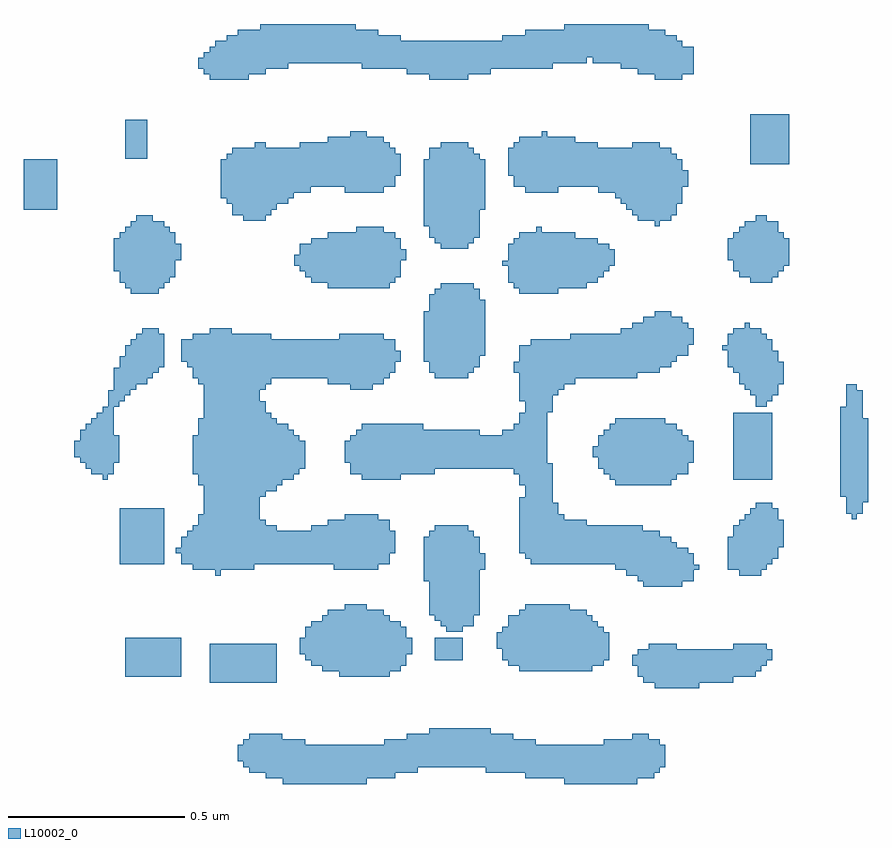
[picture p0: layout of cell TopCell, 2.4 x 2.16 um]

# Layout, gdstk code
import gdstk
lib = gdstk.Library(unit=1e-6, precision=1e-09)
def R(c, l, rs):  # rectangles x0, y0, x1, y1
    for r in rs: c.add(gdstk.rectangle(r[:2], r[2:], *l))
L10002_0 = (10002, 0)

topcell = lib.new_cell('TopCell')
R(topcell, L10002_0, [(1.344,0.752,1.583,0.768), (2.144,0.752,2.351,0.768), (1.296,0.768,1.663,0.784), (2.032,0.768,2.399,0.784), (1.248,0.784,1.727,0.8), (1.92,0.784,2.415,0.8), (1.232,0.8,2.431,0.816), (1.216,0.816,2.431,0.863), (1.232,0.863,1.407,0.879), (1.632,0.863,2.063,0.879), (2.256,0.863,2.415,0.879), (1.248,0.879,1.343,0.895), (1.696,0.879,1.999,0.895), (2.336,0.879,2.383,0.895), (1.76,0.895,1.935,0.911), (2.4,1.024,2.527,1.04), (1.136,1.04,1.327,1.151), (2.368,1.04,2.623,1.056), (0.896,1.056,1.055,1.167), (1.504,1.056,1.647,1.072), (2.352,1.056,2.687,1.088), (1.456,1.072,1.679,1.088), (2.016,1.072,2.223,1.088), (2.687,1.072,2.703,1.088), (1.424,1.088,1.695,1.104), (1.984,1.088,2.255,1.104), (2.336,1.088,2.719,1.119), (1.408,1.104,1.695,1.12), (1.776,1.104,1.855,1.167), (1.968,1.104,2.271,1.136), (2.719,1.104,2.735,1.119), (2.352,1.119,2.735,1.135), (1.392,1.12,1.711,1.167), (2.384,1.135,2.463,1.151), (2.624,1.135,2.719,1.151), (1.952,1.136,2.271,1.183), (1.408,1.167,1.695,1.199), (1.968,1.183,2.255,1.199), (1.808,1.184,1.855,1.2), (1.424,1.199,1.679,1.215), (1.984,1.199,2.239,1.215), (1.792,1.2,1.887,1.216), (1.456,1.215,1.647,1.231), (1.984,1.215,2.223,1.231), (1.776,1.216,1.887,1.232), (1.472,1.231,1.631,1.247), (2.016,1.231,2.207,1.247), (1.76,1.232,1.903,1.328), (1.52,1.247,1.583,1.263), (2.032,1.247,2.159,1.263), (2.368,1.312,2.479,1.328), (1.744,1.328,1.903,1.455), (2.352,1.328,2.511,1.344), (1.152,1.344,1.167,1.36), (2.32,1.344,2.511,1.36), (2.64,1.344,2.703,1.36), (1.088,1.36,1.263,1.376), (1.488,1.36,1.615,1.376), (1.903,1.36,1.919,1.407), (2.288,1.36,2.527,1.375), (2.608,1.36,2.719,1.455), (2.288,1.375,2.511,1.376), (0.88,1.376,1.007,1.535), (1.056,1.376,1.647,1.408), (2.048,1.376,2.511,1.392), (2.719,1.376,2.735,1.455), (2.032,1.392,2.511,1.407), (2.735,1.392,2.751,1.455), (2.032,1.407,2.495,1.408), (1.04,1.408,1.663,1.423), (2.016,1.408,2.495,1.423), (1.056,1.423,1.663,1.455), (2.016,1.423,2.463,1.439), (2.751,1.424,2.767,1.455), (2.016,1.439,2.447,1.455), (1.072,1.455,1.663,1.471), (1.76,1.455,1.887,1.471), (2.016,1.455,2.415,1.471), (2.624,1.455,2.767,1.487), (1.088,1.471,1.327,1.487), (1.424,1.471,1.647,1.487), (1.776,1.471,1.871,1.487), (2.016,1.471,2.367,1.487), (1.104,1.487,1.295,1.503), (1.472,1.487,1.647,1.503), (2.016,1.487,2.207,1.503), (2.64,1.487,2.767,1.503), (1.104,1.503,1.279,1.519), (1.52,1.503,1.615,1.519), (2.016,1.503,2.143,1.519), (2.656,1.503,2.751,1.519), (2.96,1.504,2.975,1.52), (1.12,1.519,1.279,1.6), (2.016,1.519,2.127,1.551), (2.672,1.519,2.751,1.535), (2.944,1.52,2.991,1.568), (2.688,1.535,2.735,1.551), (2.016,1.551,2.111,1.567), (2.991,1.552,3.007,1.568), (2.032,1.567,2.111,1.6), (1.279,1.568,1.295,1.6), (2.928,1.568,3.007,1.791), (1.295,1.584,1.327,1.6), (1.104,1.6,1.343,1.632), (2.016,1.6,2.111,1.632), (2.288,1.6,2.447,1.616), (0.832,1.616,0.847,1.632), (1.343,1.616,1.375,1.632), (1.568,1.616,1.679,1.632), (2.272,1.616,2.463,1.632), (2.624,1.616,2.735,1.807), (0.8,1.632,0.863,1.648), (1.088,1.632,1.391,1.743), (1.536,1.632,1.775,1.664), (2,1.632,2.111,1.648), (2.256,1.632,2.495,1.648), (0.784,1.648,0.863,1.664), (1.391,1.648,1.407,1.727), (1.775,1.648,2.111,1.663), (2.24,1.648,2.495,1.68), (1.775,1.663,2.095,1.664), (0.768,1.664,0.879,1.68), (1.52,1.664,2.095,1.727), (2.495,1.664,2.511,1.68), (0.752,1.68,0.879,1.727), (2.224,1.68,2.511,1.711), (2.24,1.711,2.511,1.727), (0.768,1.727,0.879,1.743), (1.536,1.727,2.095,1.743), (2.24,1.727,2.495,1.743), (0.768,1.743,0.863,1.759), (1.104,1.743,1.375,1.759), (1.552,1.743,1.903,1.759), (1.968,1.743,2.095,1.759), (2.256,1.743,2.479,1.759), (0.784,1.759,0.863,1.775), (1.104,1.759,1.359,1.775), (1.568,1.759,1.743,1.775), (2,1.759,2.095,1.775), (2.272,1.759,2.463,1.775), (0.8,1.775,0.863,1.791), (1.104,1.775,1.327,1.791), (2.016,1.775,2.095,1.807), (2.288,1.775,2.431,1.791), (0.816,1.791,0.863,1.807), (1.12,1.791,1.311,1.807), (2.928,1.791,2.991,1.823), (0.832,1.807,0.863,1.823), (1.12,1.807,1.295,1.839), (2.032,1.807,2.095,1.84), (2.095,1.808,2.111,1.84), (0.848,1.823,0.863,1.871), (2.944,1.823,2.991,1.871), (0.863,1.824,0.879,1.871), (2.688,1.824,2.719,1.856), (1.12,1.839,1.279,1.888), (0.879,1.84,0.895,1.871), (2.016,1.84,2.111,1.92), (2.719,1.84,2.735,1.856), (0.895,1.856,0.911,1.871), (2.111,1.856,2.127,1.92), (2.672,1.856,2.751,1.872), (0.864,1.871,0.911,1.935), (2.944,1.871,2.975,1.887), (0.911,1.872,0.927,1.935), (1.279,1.872,1.295,1.888), (1.536,1.872,1.599,1.888), (2.127,1.872,2.143,1.92), (2.656,1.872,2.751,1.888), (0.927,1.888,0.959,1.935), (1.104,1.888,1.311,1.904), (1.472,1.888,1.631,1.904), (2.143,1.888,2.175,1.92), (2.64,1.888,2.767,1.92), (0.959,1.904,0.975,1.935), (1.088,1.904,1.647,1.936), (1.776,1.904,1.871,1.92), (2.175,1.904,2.351,1.92), (0.975,1.92,0.991,1.935), (1.647,1.92,1.663,1.936), (1.76,1.92,1.887,1.952), (2,1.92,2.415,1.951), (2.624,1.92,2.767,1.936), (0.88,1.935,0.991,1.967), (0.991,1.936,1.007,1.967), (1.072,1.936,1.663,1.952), (1.887,1.936,1.903,1.952), (2.415,1.936,2.447,1.951), (2.608,1.936,2.767,1.951), (2.016,1.951,2.447,1.999), (2.608,1.951,2.751,1.983), (1.056,1.952,1.679,1.983), (1.744,1.952,1.903,2.095), (2.447,1.952,2.463,1.999), (0.896,1.967,1.007,1.999), (1.903,1.968,1.919,2.095), (2.463,1.968,2.495,1.999), (1.056,1.983,1.663,2.015), (2.608,1.983,2.735,1.984), (2.592,1.984,2.735,1.999), (0.912,1.999,1.007,2.015), (2.048,1.999,2.495,2.015), (2.608,1.999,2.735,2.015), (2.495,2,2.511,2.015), (0.928,2.015,1.007,2.031), (1.088,2.015,1.311,2.031), (1.504,2.015,1.631,2.031), (2.16,2.015,2.511,2.031), (2.608,2.015,2.719,2.031), (0.944,2.031,0.991,2.047), (1.136,2.031,1.199,2.047), (2.304,2.031,2.511,2.047), (2.624,2.031,2.703,2.047), (2.336,2.047,2.495,2.063), (2.656,2.047,2.671,2.063), (2.368,2.063,2.479,2.079), (2.4,2.079,2.447,2.095), (1.76,2.095,1.919,2.127), (1.76,2.127,1.903,2.143), (1.776,2.143,1.903,2.159), (0.912,2.144,0.991,2.16), (2.016,2.144,2.127,2.16), (1.792,2.159,1.887,2.175), (0.896,2.16,1.007,2.176), (1.472,2.16,1.647,2.176), (2,2.16,2.207,2.176), (0.88,2.176,1.023,2.208), (1.424,2.176,1.663,2.192), (1.984,2.176,2.239,2.224), (2.672,2.176,2.735,2.192), (1.023,2.192,1.039,2.208), (1.408,2.192,1.679,2.208), (2.239,2.192,2.255,2.224), (2.64,2.192,2.751,2.208), (0.864,2.208,1.039,2.303), (1.392,2.208,1.679,2.224), (2.255,2.208,2.271,2.224), (2.624,2.208,2.767,2.24), (1.376,2.224,1.679,2.255), (1.968,2.224,2.287,2.239), (2.767,2.224,2.783,2.24), (1.984,2.239,2.287,2.271), (1.039,2.24,1.055,2.287), (1.679,2.24,1.695,2.255), (2.608,2.24,2.783,2.303), (1.392,2.255,1.695,2.271), (1.392,2.271,1.679,2.287), (1.984,2.271,2.271,2.287), (1.792,2.272,1.871,2.288), (1.424,2.287,1.679,2.303), (2,2.287,2.239,2.303), (1.776,2.288,1.887,2.304), (0.88,2.303,1.039,2.319), (1.472,2.303,1.663,2.319), (2.016,2.303,2.175,2.319), (2.624,2.303,2.767,2.319), (1.76,2.304,1.903,2.336), (0.896,2.319,1.023,2.335), (1.552,2.319,1.631,2.335), (2.064,2.319,2.079,2.335), (2.64,2.319,2.751,2.335), (0.912,2.335,1.007,2.351), (2.656,2.335,2.751,2.351), (1.744,2.336,1.903,2.527), (2.4,2.336,2.415,2.352), (0.928,2.351,0.975,2.367), (2.688,2.351,2.719,2.367), (1.232,2.352,1.295,2.368), (2.352,2.352,2.447,2.368), (1.2,2.368,1.311,2.4), (2.336,2.368,2.463,2.384), (0.608,2.384,0.703,2.527), (1.311,2.384,1.327,2.4), (1.903,2.384,1.919,2.527), (2.32,2.384,2.463,2.4), (1.184,2.4,1.359,2.416), (2.304,2.4,2.479,2.416), (1.168,2.416,1.375,2.527), (2.288,2.416,2.479,2.432), (1.375,2.432,1.423,2.527), (1.52,2.432,1.631,2.448), (2.032,2.432,2.127,2.448), (2.24,2.432,2.479,2.448), (1.423,2.448,1.663,2.527), (2,2.448,2.495,2.48), (1.663,2.48,1.679,2.527), (1.984,2.48,2.495,2.495), (1.984,2.495,2.479,2.527), (2.672,2.512,2.783,2.655), (1.184,2.527,1.679,2.543), (1.76,2.527,1.903,2.543), (1.984,2.527,2.463,2.543), (0.896,2.528,0.959,2.639), (1.2,2.543,1.663,2.559), (1.76,2.543,1.887,2.559), (1.984,2.543,2.447,2.559), (1.264,2.559,1.295,2.575), (1.392,2.559,1.647,2.575), (1.792,2.559,1.871,2.575), (2,2.559,2.239,2.575), (2.336,2.559,2.415,2.575), (1.472,2.575,1.631,2.591), (2.016,2.575,2.175,2.591), (1.536,2.591,1.583,2.607), (2.08,2.591,2.095,2.607), (1.136,2.752,1.247,2.768), (1.76,2.752,1.871,2.768), (2.4,2.752,2.479,2.768), (1.12,2.768,1.295,2.784), (1.696,2.768,1.935,2.784), (2.352,2.768,2.511,2.784), (1.104,2.784,1.359,2.815), (1.568,2.784,2.111,2.8), (2.304,2.784,2.511,2.8), (1.359,2.8,2.207,2.815), (2.224,2.8,2.511,2.816), (1.12,2.815,2.207,2.831), (2.207,2.816,2.511,2.831), (1.136,2.831,2.511,2.847), (1.152,2.847,2.479,2.863), (1.184,2.863,1.679,2.879), (1.968,2.863,2.463,2.879), (1.216,2.879,1.615,2.895), (2.032,2.879,2.431,2.895), (1.28,2.895,1.551,2.911), (2.144,2.895,2.383,2.911)])

lib.write_gds('TopCell.gds')
